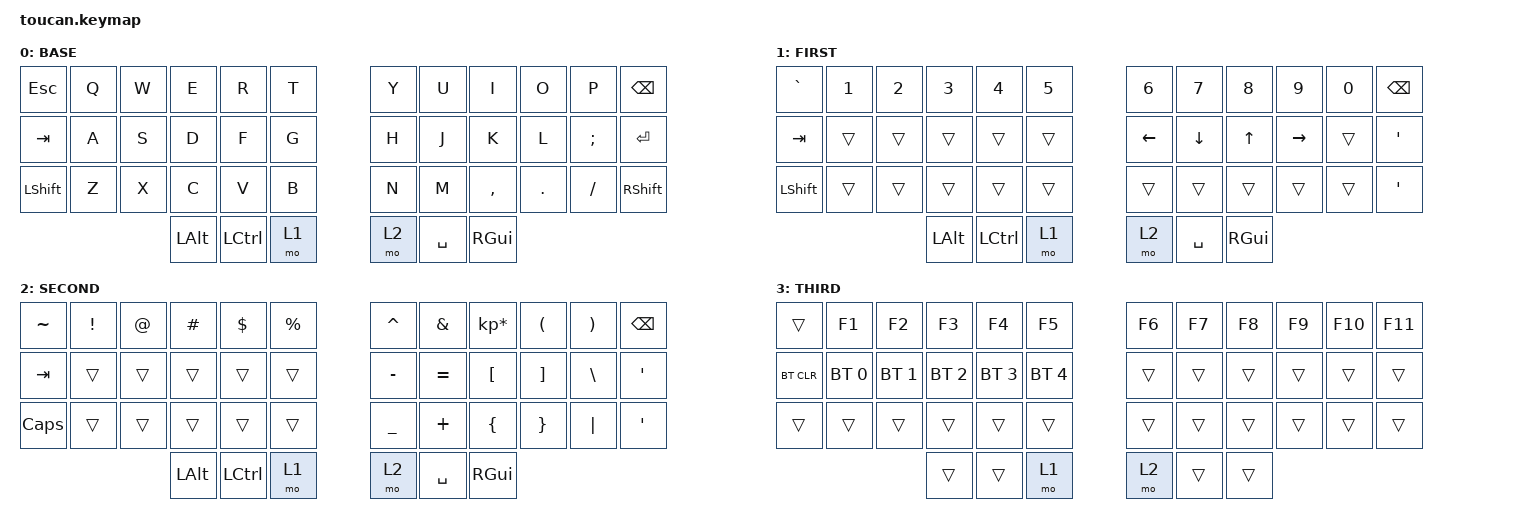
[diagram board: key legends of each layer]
#include <behaviors.dtsi>
#include <dt-bindings/zmk/keys.h>
#include <dt-bindings/zmk/bt.h>
#include <dt-bindings/zmk/outputs.h>

#define BASE 0
#define NAV  1
#define SYM  2
#define ADJ  3

/ {
    conditional_layers {
        compatible = "zmk,conditional-layers";
        tri_layer {
            if-layers = <1 2>;
            then-layer = <3>;
        };
    };

    keymap {
        compatible = "zmk,keymap";

        base {
            display-name = "BASE";
//             -----------------------------------------------------------------------------------------
//             |  ESC |  Q  |  W  |  E  |  R  |  T  |   |  Y  |  U  |  I  |  O  |  P  | BKSP |
//             |  TAB |  A  |  S  |  D  |  F  |  G  |   |  H  |  J  |  K  |  L  |  ;  | ENT  |
//             | SHFT |  Z  |  X  |  C  |  V  |  B  |   |  N  |  M  |  ,  |  .  |  /  | SHFT |
//                                | ALT | CTL | FST |   | SEC | SPC | GUI |
            bindings = <
                &kp ESC   &kp Q &kp W &kp E &kp R &kp T   &kp Y &kp U  &kp I     &kp O   &kp P    &kp BSPC
                &kp TAB   &kp A &kp S &kp D &kp F &kp G   &kp H &kp J  &kp K     &kp L   &kp SEMI &kp RET
                &kp LSHFT &kp Z &kp X &kp C &kp V &kp B   &kp N &kp M  &kp COMMA &kp DOT &kp FSLH &kp RSHFT
                                &kp LALT &kp LCTL &mo 1   &mo 2 &kp SPC &kp RGUI
            >;
        };

        nav {
            display-name = "FIRST";
//              -----------------------------------------------------------------------------------------
//              |  `   |  1  |  2  |  3  |  4  |  5  |   |  6  |  7  |  8  |  9  |  0  | BKSP |
//              | TAB  |     |     |     |     |     |   | LFT | DWN |  UP | RGT |     |  '   |
//              | SHFT |     |     |     |     |     |   |     |     |     |     |     |  "   |
//                                 | ALT | CTL | FST |   | TRD | SPC | GUI |
            bindings = <
                &kp GRAVE &kp N1 &kp N2 &kp N3 &kp N4 &kp N5   &kp N6   &kp N7   &kp N8 &kp N9    &kp N0 &kp BSPC
                &kp TAB   &trans &trans &trans &trans &trans   &kp LEFT &kp DOWN &kp UP &kp RIGHT &trans &kp SQT
                &kp LSHFT &trans &trans &trans &trans &trans   &trans   &trans   &trans &trans    &trans &kp QUOT
                                     &kp LALT &kp LCTL &mo 1   &mo 2 &kp SPC &kp RGUI
            >;
        };

        sym {
            display-name = "SECOND";
//              -----------------------------------------------------------------------------------------
//              |  ~   |  !  |  @  |  #  |  $  |  %  |   |  ^  |  &  |  *  |  (  |  )  | BKSP |
//              | TAB  |     |     |     |     |     |   |  -  |  =  |  [  |  ]  |  \  |  '   |
//              | CAPS |     |     |     |     |     |   |  _  |  +  |  {  |  }  | "|" |  "   |
//                                 | ALT | CTL | TRD |   | SEC | SPC | GUI |
            bindings = <
                &kp TILDE &kp EXCL &kp AT &kp HASH &kp DLLR &kp PRCNT   &kp CARET &kp AMPS  &kp KP_MULTIPLY &kp LPAR &kp RPAR &kp BSPC
                &kp TAB   &trans   &trans &trans   &trans   &trans      &kp MINUS &kp EQUAL &kp LBKT        &kp RBKT &kp BSLH &kp SQT
                &kp CAPS  &trans   &trans &trans   &trans   &trans      &kp UNDER &kp PLUS  &kp LBRC        &kp RBRC &kp PIPE &kp QUOT
                                              &kp LALT &kp LCTL &mo 1   &mo 2 &kp SPC &kp RGUI
            >;
        };

        adj {
            display-name = "THIRD";
//              -----------------------------------------------------------------------------------------
//              |     | F1  | F2  | F3  | F4  | F5  |   | F6  | F7  | F8  | F9  | F10 | F11 |
//              |BTCLR| B1  | B2  | B3  | B4  | B5  |   |     |     |     |     |     |     |
//              |     |     |     |     |     |     |   |     |     |     |     |     |     |
//                                |     |     | TRD |   | TRD |     |     |
            bindings = <
                &trans     &kp F1       &kp F2       &kp F3       &kp F4       &kp F5        &kp F6 &kp F7 &kp F8 &kp F9 &kp F10 &kp F11 
                &bt BT_CLR &bt BT_SEL 0 &bt BT_SEL 1 &bt BT_SEL 2 &bt BT_SEL 3 &bt BT_SEL 4  &trans &trans &trans &trans &trans  &trans
                &trans     &trans       &trans       &trans       &trans       &trans        &trans &trans &trans &trans &trans  &trans
                                                                        &trans &trans &mo 1  &mo 2 &trans &trans
            >;
        };
        extra_1 {
                status = "reserved";
        };

        extra_2 {
                status = "reserved";
        };

        extra_3 {
                status = "reserved";
        };
    };
};
